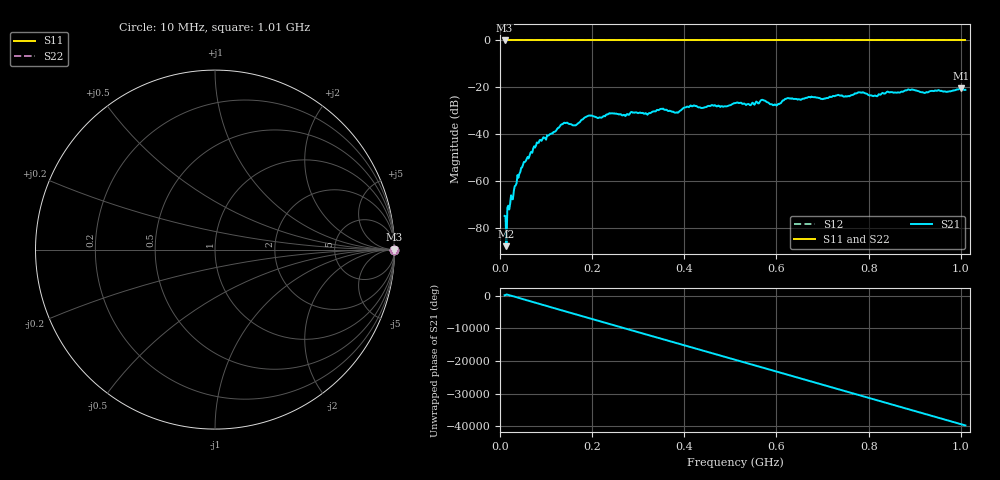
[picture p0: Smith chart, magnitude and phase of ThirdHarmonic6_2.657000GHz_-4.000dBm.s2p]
! 8/17/2025 6:05:56 AM
! C:\ANRITSUVNA\TEMP\TEMP.S2P
! CHANNEL.1
! TR.MEASUREMENT
! RAW.DATA
! RF.CORRECTION.OFF
! AVERAGING.OFF
! IF.BANDWIDTH: 5KHZ
! SWEEPTYPE:  FREQ.SWEEP(Linear)
! Reference Plane Port Info
! PORT:  PORT1  PORT2
! DISTANCE:  0  m  0  m
! TIME:  0  s  0  s
! PHASE.OFFSET:  0  deg.  0  deg.
! LOSS:  0  dB  0  dB
! REF.LOSS:  0  dB  0  dB
! REF.FREQ:  0  Hz  0  Hz
! Power Info
! POWER:  -20  dBm  -20  dBm
! EFF.POWER:  -20  dBm  -20  dBm
! SOURCE.ATTEN:  0  dB  0  dB
! TEST.ATTEN:  0  dB  0  dB
# GHZ S RI R 50.0
! FREQ.GHZ  S11RE  S11IM  S21RE  S21IM  S12RE  S12IM  S22RE  S22IM
!; PortSelection: Port_12
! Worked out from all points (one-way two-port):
!   501 points, 10 MHz to 1.01 GHz, reference 50 ohm
!   highest |S21| = -20.41 dB at 1 GHz (marker M1); lowest = -87.7 dB at 14 MHz (marker M2)
!   lowest |S11| = 0.0 dB at 10 MHz (marker M3)
!   |S11| at or under -10 dB: nowhere
!   |S22| runs from 0.0 to 0.0 dB; largest |S21 - S12| = 1.1
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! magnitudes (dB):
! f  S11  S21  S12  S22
! 10 MHz  0.0  -74.8  0.0  0.0
! 14 MHz  0.0  -87.7  0.0  0.0
! 42 MHz  0.0  -56.8  0.0  0.0
! 76 MHz  0.0  -45.6  0.0  0.0
! 136 MHz  0.0  -35.7  0.0  0.0
! 162 MHz  0.0  -36.2  0.0  0.0
! 178 MHz  0.0  -33.7  0.0  0.0
! 194 MHz  0.0  -32.0  0.0  0.0
! 322 MHz  0.0  -31.2  0.0  0.0
! 344 MHz  0.0  -29.7  0.0  0.0
! 384 MHz  0.0  -30.6  0.0  0.0
! 416 MHz  0.0  -28.0  0.0  0.0
! 510 MHz  0.0  -26.7  0.0  0.0
! 570 MHz  0.0  -25.3  0.0  0.0
! 598 MHz  0.0  -27.4  0.0  0.0
! 622 MHz  0.0  -24.8  0.0  0.0
! 678 MHz  0.0  -24.1  0.0  0.0
! 782 MHz  0.0  -22.2  0.0  0.0
! 814 MHz  0.0  -23.5  0.0  0.0
! 844 MHz  0.0  -22.1  0.0  0.0
! 1 GHz  0.0  -20.4  0.0  0.0
! 1.01 GHz  0.0  -21.0  0.0  0.0
